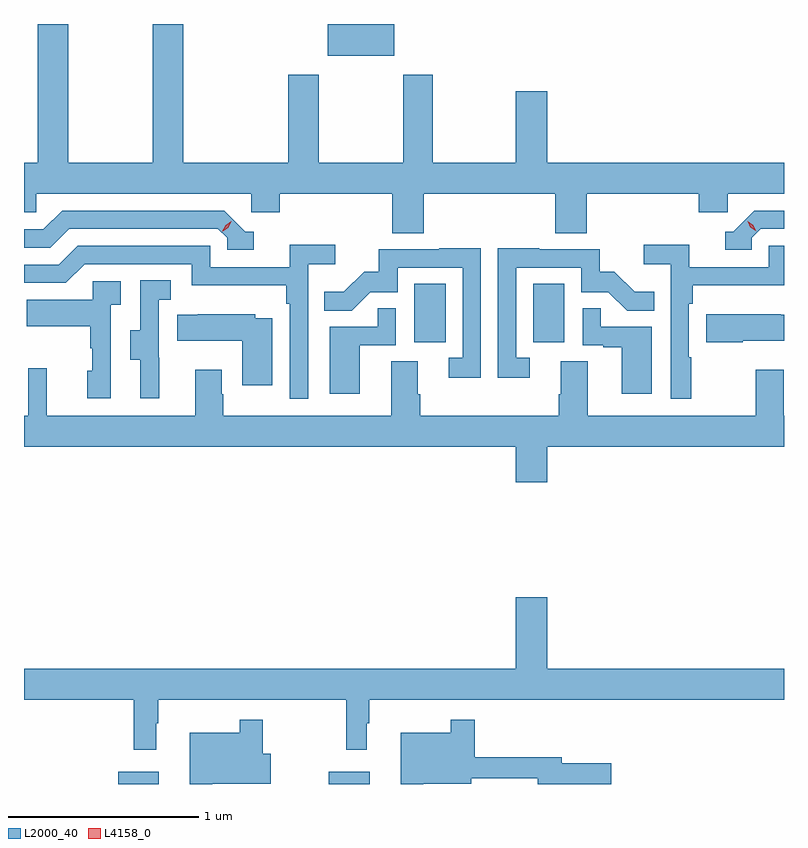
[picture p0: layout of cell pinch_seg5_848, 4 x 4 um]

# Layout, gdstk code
import gdstk
lib = gdstk.Library(unit=1e-6, precision=1e-09)
def R(c, l, rs):  # rectangles x0, y0, x1, y1
    for r in rs: c.add(gdstk.rectangle(r[:2], r[2:], *l))
def P(c, l, *ps):  # polygons
    for p in ps: c.add(gdstk.Polygon(p, *l))
L2000_40 = (2000, 40)
L4158_0 = (4158, 0)

pinch_seg5_848 = lib.new_cell('pinch_seg5_848')
R(pinch_seg5_848, L2000_40, [(834.242,884.289,834.457,884.353), (835.352,884.289,835.567,884.353), (835.802,886.614,835.966,886.921), (836.426,886.614,836.59,886.921), (835.346,888.122,835.696,888.289)])
P(pinch_seg5_848, L2000_40, [(836.5,887.935),(836.336,887.935),(836.336,887.56),(835.899,887.56),(835.899,888.022),(835.744,888.022),(835.744,887.56),(835.299,887.56),(835.299,888.022),(835.139,888.022),(835.139,887.56),(834.584,887.56),(834.584,888.289),(834.424,888.289),(834.424,887.56),(833.979,887.56),(833.979,888.289),(833.819,888.289),(833.819,887.56),(833.747,887.56),(833.747,887.298),(833.811,887.298),(833.811,887.396),(834.942,887.396),(834.942,887.298),(835.094,887.298),(835.094,887.396),(835.685,887.396),(835.685,887.188),(835.85,887.188),(835.85,887.396),(836.543,887.396),(836.543,887.188),(836.708,887.188),(836.708,887.396),(837.299,887.396),(837.299,887.298),(837.45,887.298),(837.45,887.396),(837.747,887.396),(837.747,887.56),(836.5,887.56)],
  [(837.576,887.163),(837.624,887.211),(837.747,887.211),(837.747,887.307),(837.591,887.307),(837.48,887.196),(837.437,887.196),(837.437,887.1),(837.576,887.1)],
  [(834.955,887.196),(834.912,887.196),(834.801,887.307),(833.948,887.307),(833.849,887.208),(833.747,887.208),(833.747,887.112),(833.886,887.112),(833.985,887.211),(834.768,887.211),(834.816,887.163),(834.816,887.1),(834.955,887.1)],
  [(835.242,887.024),(835.384,887.024),(835.384,887.126),(835.145,887.126),(835.145,887.01),(834.726,887.01),(834.726,887.121),(834.029,887.121),(833.93,887.022),(833.747,887.022),(833.747,886.926),(833.967,886.926),(834.066,887.025),(834.63,887.025),(834.63,886.913),(835.126,886.913),(835.126,886.817),(835.146,886.817),(835.146,886.317),(835.242,886.317)],
  [(837.259,886.535),(837.246,886.535),(837.246,886.817),(837.266,886.817),(837.266,886.913),(837.747,886.913),(837.747,887.121),(837.666,887.121),(837.666,887.01),(837.248,887.01),(837.248,887.126),(837.009,887.126),(837.009,887.024),(837.15,887.024),(837.15,886.317),(837.259,886.317)],
  [(836.151,887.108),(835.933,887.108),(835.933,887.103),(835.615,887.103),(835.615,886.986),(835.538,886.986),(835.431,886.879),(835.327,886.879),(835.327,886.78),(835.471,886.78),(835.569,886.878),(835.713,886.878),(835.713,887.007),(836.055,887.007),(836.055,886.533),(835.983,886.533),(835.983,886.428),(836.151,886.428)],
  [(836.41,886.533),(836.337,886.533),(836.337,887.007),(836.679,887.007),(836.679,886.878),(836.823,886.878),(836.921,886.78),(837.065,886.78),(837.065,886.879),(836.961,886.879),(836.854,886.986),(836.778,886.986),(836.778,887.103),(836.459,887.103),(836.459,887.108),(836.241,887.108),(836.241,886.428),(836.41,886.428)],
  [(834.458,886.533),(834.456,886.533),(834.456,886.837),(834.52,886.837),(834.52,886.94),(834.36,886.94),(834.36,886.677),(834.305,886.677),(834.305,886.522),(834.359,886.522),(834.359,886.32),(834.458,886.32)],
  [(834.204,886.811),(834.256,886.811),(834.256,886.935),(834.108,886.935),(834.108,886.837),(833.761,886.837),(833.761,886.697),(834.096,886.697),(834.096,886.583),(834.106,886.583),(834.106,886.464),(834.08,886.464),(834.08,886.32),(834.204,886.32)],
  [(835.513,886.599),(835.704,886.599),(835.704,886.793),(835.609,886.793),(835.609,886.695),(835.355,886.695),(835.355,886.344),(835.513,886.344)],
  [(837.052,886.695),(836.783,886.695),(836.783,886.793),(836.688,886.793),(836.688,886.599),(836.795,886.599),(836.795,886.587),(836.894,886.587),(836.894,886.344),(837.052,886.344)],
  [(837.529,886.622),(837.747,886.622),(837.747,886.759),(837.731,886.759),(837.731,886.762),(837.338,886.762),(837.338,886.615),(837.529,886.615)],
  [(835.054,886.741),(834.963,886.741),(834.963,886.762),(834.661,886.762),(834.661,886.759),(834.553,886.759),(834.553,886.622),(834.896,886.622),(834.896,886.389),(835.054,886.389)],
  [(836.5,886.064),(837.747,886.064),(837.747,886.228),(837.745,886.228),(837.745,886.468),(837.598,886.468),(837.598,886.228),(836.713,886.228),(836.713,886.514),(836.573,886.514),(836.573,886.34),(836.561,886.34),(836.561,886.228),(835.832,886.228),(835.832,886.34),(835.819,886.34),(835.819,886.514),(835.679,886.514),(835.679,886.228),(834.795,886.228),(834.795,886.34),(834.787,886.34),(834.787,886.468),(834.647,886.468),(834.647,886.228),(833.867,886.228),(833.867,886.477),(833.769,886.477),(833.769,886.228),(833.747,886.228),(833.747,886.064),(836.336,886.064),(836.336,885.876),(836.5,885.876)],
  [(834.442,884.609),(834.454,884.609),(834.454,884.732),(835.443,884.732),(835.443,884.469),(835.552,884.469),(835.552,884.609),(835.564,884.609),(835.564,884.732),(837.747,884.732),(837.747,884.896),(836.5,884.896),(836.5,885.271),(836.336,885.271),(836.336,884.896),(833.747,884.896),(833.747,884.732),(834.325,884.732),(834.325,884.469),(834.442,884.469)],
  [(834.737,884.291),(835.045,884.291),(835.045,884.449),(835.003,884.449),(835.003,884.626),(834.882,884.626),(834.882,884.56),(834.62,884.56),(834.62,884.289),(834.737,884.289)],
  [(835.847,884.291),(836.101,884.291),(836.101,884.32),(836.45,884.32),(836.45,884.289),(836.839,884.289),(836.839,884.397),(836.578,884.397),(836.578,884.431),(836.12,884.431),(836.12,884.626),(835.992,884.626),(835.992,884.56),(835.73,884.56),(835.73,884.289),(835.847,884.289)])
P(pinch_seg5_848, L4158_0, [(834.791,887.197),(834.791,887.197),(834.808,887.23),(834.839,887.25),(834.839,887.25),(834.839,887.249),(834.823,887.216),(834.792,887.197)],
  [(837.601,887.198),(837.57,887.218),(837.555,887.251),(837.555,887.251),(837.555,887.251),(837.586,887.231),(837.601,887.198),(837.601,887.198)])

lib.write_gds('pinch_seg5_848.gds')
